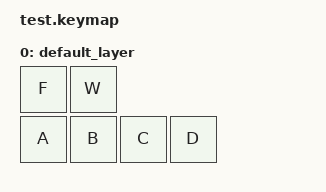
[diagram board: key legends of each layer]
#include <behaviors.dtsi>
#include <dt-bindings/zmk/keys.h>
#include <dt-bindings/zmk/bt.h>

#define DEFAULT 0

/ {
       keymap {
              compatible = "zmk,keymap";

              default_layer {
 // |  ESC   |   1    |
                     bindings = <
       &kp F    &kp W
       &kp A    &kp B    &kp C    &kp D
                     >;
              };
       };
};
